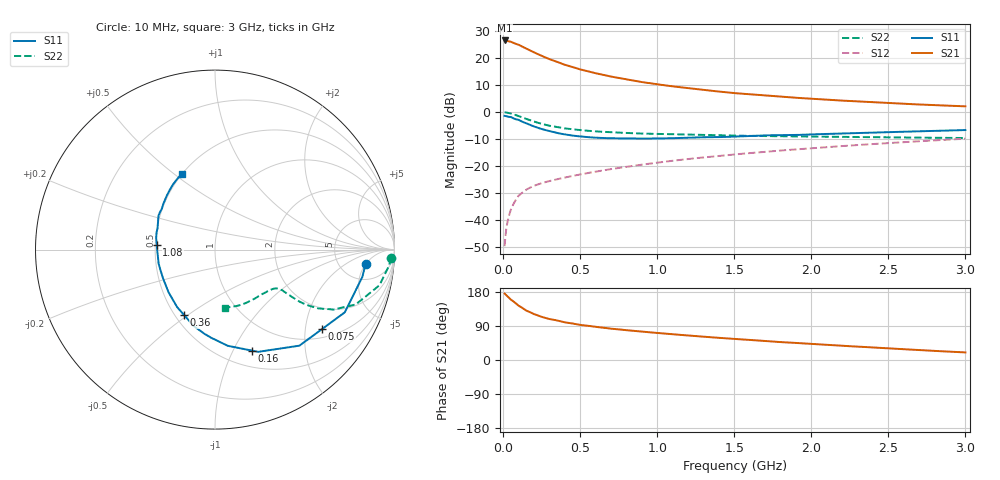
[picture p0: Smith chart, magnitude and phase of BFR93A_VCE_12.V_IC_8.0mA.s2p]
! Infineon Technologies  Discrete & RF Semiconductors
! BFR93A
! VCE =  12. V,  IC =  8.0 mA
! Common Emitter S-Parameters:  Nov 2015
# GHz  S  MA  R  50
!  f  S11  S21  S12  S22
! GHz  MAG  ANG  MAG  ANG  MAG  ANG  MAG  ANG
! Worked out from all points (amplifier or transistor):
!   180 points, 10 MHz to 3 GHz, reference 50 ohm
!   highest |S21| = 26.4 dB at 10 MHz (marker M1)
!   |S21| within 3 dB of that: start of sweep to 150.8 MHz
!   unconditionally stable (mu >= 1): 671.6 MHz to 2.581 GHz
!   at 160 MHz: K = 0.43, MSG = 25.8 dB, |S12| = -28.5 dB
!   at 1.22 GHz: K = 1.09, MAG = 11.1 dB, |S12| = -17.3 dB
!   at 3 GHz: K = 0.95, MSG = 6.0 dB, |S12| = -9.9 dB
!   S11 on the Smith chart (normalised r, x): 10 MHz: 9, -5; 75 MHz: 1.25, -2.47; 160 MHz: 0.68, -1.19; 360 MHz: 0.56, -0.48; 1.08 GHz: 0.51, +0.03; 3 GHz: 0.50, +0.54
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0.01  0.8429 -5.3  20.83 175.3  0.0033 82.3  0.9807 -2.6
0.02  0.835 -10.5  20.64 171.3  0.0066 81.0  0.9747 -5.1
0.05  0.8031 -25.8  19.75 159.6  0.0155 76.5  0.938 -12.2
0.075  0.7428 -36.6  18.39 152.1  0.0217 70.2  0.8871 -16.5
0.1  0.7125 -48.7  17.39 143.5  0.0281 66.7  0.8417 -21.3
0.15  0.6183 -67.1  14.78 130.5  0.0365 60.8  0.7407 -26.8
0.16  0.5995 -69.8  14.32 128.9  0.0378 60.1  0.7245 -27.3
0.2  0.5404 -82.5  12.59 121.2  0.043 57.8  0.6606 -29.7
0.24  0.4919 -92.4  11.15 115.4  0.047 56.4  0.6117 -30.8
0.26  0.4731 -97.1  10.53 112.7  0.0489 56.1  0.5906 -31.2
0.3  0.4421 -105.6  9.429 108.2  0.0526 56.1  0.555 -31.6
0.36  0.4023 -115.6  8.194 103.4  0.0577 56.4  0.5188 -31.6
0.4  0.3837 -123.3  7.41 99.4  0.0611 56.5  0.4946 -31.6
0.52  0.3469 -139.5  5.9 91.8  0.0714 58.0  0.4543 -31.3
0.7  0.3253 -158.4  4.485 82.7  0.0875 60.0  0.4191 -31.6
0.9  0.3211 -174.0  3.55 75.0  0.1056 61.2  0.3971 -33.0
1.02  0.3226 178.5  3.167 70.7  0.117 61.4  0.3896 -34.2
1.08  0.325 175.1  3.009 68.6  0.1228 61.4  0.3856 -35.1
1.52  0.3502 155.1  2.198 55.1  0.1651 60.8  0.3634 -42.3
2.02  0.3847 138.5  1.732 42.0  0.2147 58.3  0.3488 -53.1
2.52  0.4223 125.6  1.444 30.4  0.2668 54.6  0.3392 -65.7
3  0.461 113.4  1.264 20.0  0.3196 50.3  0.3289 -80.6
